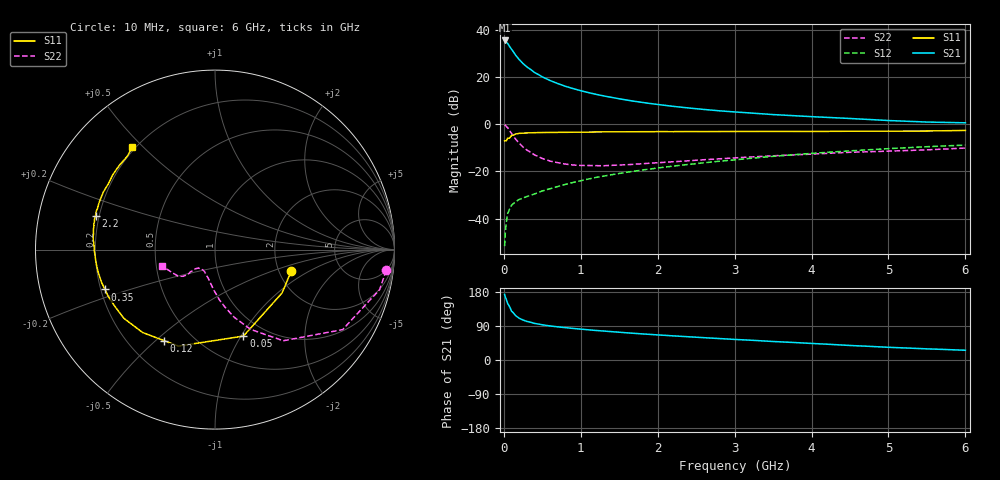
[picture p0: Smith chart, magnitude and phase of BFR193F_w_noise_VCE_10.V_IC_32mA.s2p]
! (c) 2017  Infineon Technologies AG, Munich
! Infineon Technologies  Discrete & RF Semiconductors
! BFR193F
! VCE =  10. V,  IC =  32 mA
! Common Emitter S-Parameters:  Jan 2017
# GHz  S  MA  R  50
!  f  S11  S21  S12  S22
! GHz  MAG  ANG  MAG  ANG  MAG  ANG  MAG  ANG
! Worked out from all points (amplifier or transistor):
!   77 points, 10 MHz to 6 GHz, reference 50 ohm
!   highest |S21| = 35.4 dB at 10 MHz (marker M1)
!   |S21| within 3 dB of that: start of sweep to 84.51 MHz
!   unconditionally stable (mu >= 1): 1.217 GHz to 2.672 GHz
!   at 130 MHz: K = 0.36, MSG = 31.9 dB, |S12| = -33.5 dB
!   at 2.2 GHz: K = 1.02, MAG = 11.8 dB, |S12| = -17.8 dB
!   at 6 GHz: K = 0.84, MSG = 4.7 dB, |S12| = -8.9 dB
!   lowest NFmin = 1.21 dB at 450 MHz
!   S11 on the Smith chart (normalised r, x): 10 MHz: 2.33, -0.69; 50 MHz: 0.79, -1.02; 120 MHz: 0.35, -0.53; 350 MHz: 0.22, -0.17; 2.2 GHz: 0.19, +0.13; 6 GHz: 0.19, +0.46
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0.01  0.4413 -15.7  58.96 172.9  0.0026 82.7  0.9608 -6.9
0.02  0.445 -32.9  57.27 166.1  0.0053 81.6  0.9438 -13.7
0.05  0.5073 -71.8  50.99 148.9  0.0127 67.8  0.8391 -32.1
0.1  0.5748 -110.7  38.44 129.0  0.0191 55.1  0.6344 -53.2
0.12  0.5811 -119.2  34.62 125.2  0.0204 52.9  0.5723 -57.5
0.15  0.6132 -131.1  29.28 117.6  0.0225 50.0  0.487 -65.9
0.2  0.6359 -143.0  23.24 110.2  0.0254 48.4  0.3936 -74.0
0.25  0.6422 -151.0  19.09 105.4  0.0271 49.3  0.3256 -80.1
0.3  0.6492 -156.4  16.21 101.8  0.0293 50.5  0.2819 -84.9
0.35  0.6521 -160.1  14.27 99.5  0.0312 52.4  0.2515 -88.1
0.4  0.6578 -163.8  12.36 96.5  0.0332 54.0  0.2222 -92.2
0.5  0.6628 -168.7  9.99 92.9  0.0384 57.1  0.1869 -97.9
0.6  0.6654 -172.3  8.377 89.9  0.0427 60.2  0.1648 -103.0
0.8  0.6693 -177.6  6.316 85.4  0.0529 64.5  0.1422 -111.9
1.1  0.6764 176.9  4.637 79.7  0.0687 68.1  0.1327 -121.4
1.5  0.6853 171.5  3.433 73.3  0.09 70.4  0.1361 -130.0
2.1  0.692 165.0  2.488 65.0  0.1231 71.7  0.1556 -136.0
2.2  0.6916 164.1  2.375 63.7  0.1288 71.7  0.1592 -136.3
3.1  0.6975 156.1  1.763 53.3  0.181 71.2  0.1966 -137.5
4.1  0.6994 147.4  1.411 42.7  0.2457 68.1  0.2354 -140.9
5.1  0.7105 137.4  1.172 32.7  0.3078 63.1  0.2706 -151.7
6  0.7338 129.0  1.065 25.7  0.3593 58.0  0.3111 -163.1
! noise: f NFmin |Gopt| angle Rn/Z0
0.45  1.21  0.4  177  0.06
0.9  1.3  0.43  177  0.07
1.9  1.86  0.58  -167  0.07
2.4  2.15  0.61  -158  0.12
